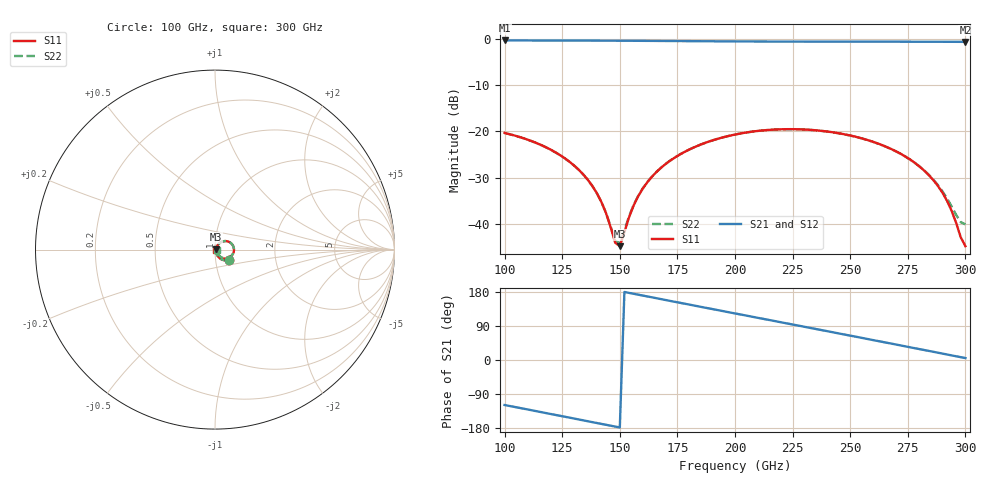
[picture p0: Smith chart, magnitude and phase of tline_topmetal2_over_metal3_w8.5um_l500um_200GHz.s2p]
#  GHZ S DB R 50
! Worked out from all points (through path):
!   101 points, 100 GHz to 300 GHz, reference 50 ohm
!   highest |S21| = -0.40 dB at 100 GHz (marker M1); lowest = -0.7 dB at 300 GHz (marker M2)
!   group delay of S21, straight-line fit = 3.27 ps
!   lowest |S11| = -44.7 dB at 150 GHz (marker M3), VSWR 1.01, Z = 50.6 + j0.0981 ohm
!   |S11| at or under -10 dB: start of sweep to end of sweep
!   |S22| runs from -44.1 to -19.5 dB; largest |S21 - S12| = 1.1e-14
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100  -20.34 -36.8  -0.40 -118.7  -0.40 -118.7  -20.35 -36.6
120  -23.94 -57.2  -0.41 -142.4  -0.41 -142.4  -23.96 -56.9
134  -29.20 -68.6  -0.42 -159.1  -0.42 -159.1  -29.22 -67.9
142  -35.20 -68.1  -0.44 -168.6  -0.44 -168.6  -35.20 -66.6
144  -37.59 -64.0  -0.44 -171.0  -0.44 -171.0  -37.55 -62.2
148  -43.99 -31.4  -0.45 -175.7  -0.45 -175.7  -43.57 -28.8
150  -44.74 9.6  -0.45 -178.1  -0.45 -178.1  -44.14 9.7
154  -38.52 51.7  -0.46 177.1  -0.46 177.1  -38.32 50.4
158  -33.96 59.2  -0.47 172.4  -0.47 172.4  -33.87 58.3
162  -30.92 59.7  -0.49 167.6  -0.49 167.6  -30.88 59.0
168  -27.80 56.5  -0.50 160.5  -0.50 160.5  -27.77 56.1
182  -23.49 44.2  -0.55 144.0  -0.55 144.0  -23.48 44.2
200  -20.68 25.5  -0.60 122.9  -0.60 122.9  -20.68 25.6
218  -19.58 5.6  -0.63 101.9  -0.63 101.9  -19.59 6.0
234  -19.72 -12.3  -0.65 83.1  -0.65 83.1  -19.73 -11.5
250  -20.88 -29.8  -0.65 64.3  -0.65 64.3  -20.90 -28.6
268  -23.84 -48.7  -0.66 43.0  -0.66 43.0  -23.86 -46.3
280  -27.53 -59.6  -0.67 28.8  -0.67 28.8  -27.52 -55.1
288  -31.71 -63.8  -0.68 19.3  -0.68 19.3  -31.54 -55.8
294  -37.09 -59.0  -0.69 12.2  -0.69 12.2  -36.17 -44.9
298  -42.86 -34.3  -0.70 7.5  -0.70 7.5  -39.56 -18.4
300  -44.73 -0.6  -0.70 5.1  -0.70 5.1  -40.04 3.0
